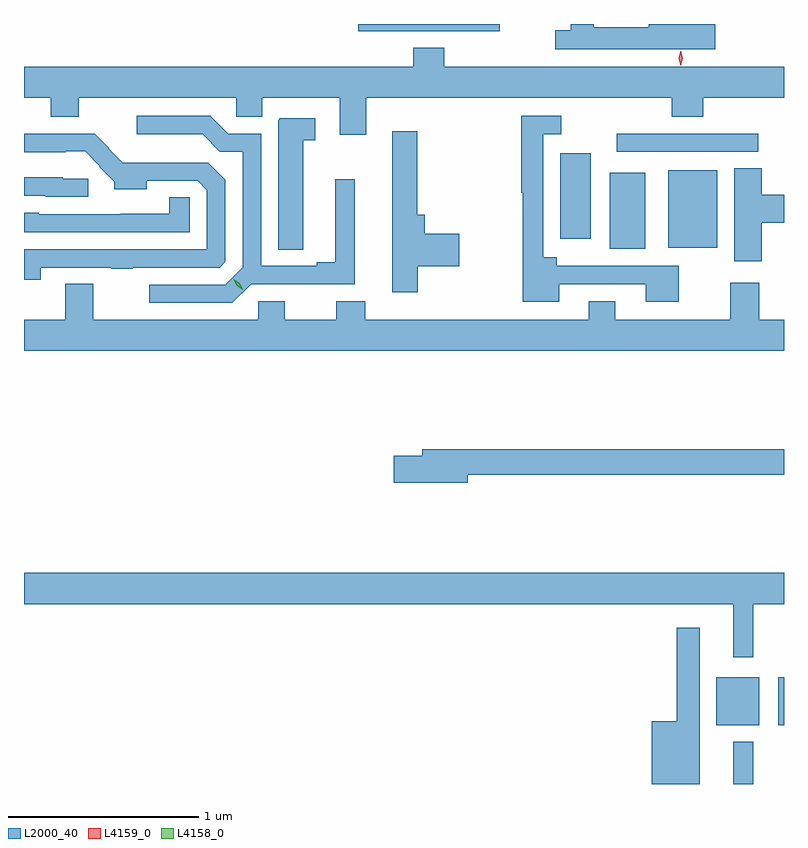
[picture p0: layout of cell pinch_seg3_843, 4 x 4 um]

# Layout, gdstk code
import gdstk
lib = gdstk.Library(unit=1e-6, precision=1e-09)
def R(c, l, rs):  # rectangles x0, y0, x1, y1
    for r in rs: c.add(gdstk.rectangle(r[:2], r[2:], *l))
def P(c, l, *ps):  # polygons
    for p in ps: c.add(gdstk.Polygon(p, *l))
L2000_40 = (2000, 40)
L4158_0 = (4158, 0)
L4159_0 = (4159, 0)

pinch_seg3_843 = lib.new_cell('pinch_seg3_843')
R(pinch_seg3_843, L2000_40, [(738.773,706.629,738.877,706.852), (738.683,706.937,738.91,707.191), (739.01,706.937,739.039,707.191), (738.122,709.445,738.31,709.846), (738.431,709.451,738.688,709.858), (737.861,709.5,738.022,709.948), (738.159,709.956,738.904,710.052), (736.797,710.592,737.542,710.629)])
P(pinch_seg3_843, L2000_40, [(738.676,710.629),(738.326,710.629),(738.326,710.612),(738.037,710.612),(738.037,710.629),(737.916,710.629),(737.916,710.596),(737.835,710.596),(737.835,710.496),(738.43,710.496),(738.43,710.495),(738.676,710.495)],
  [(736.84,710.24),(738.449,710.24),(738.449,710.141),(738.614,710.141),(738.614,710.24),(739.039,710.24),(739.039,710.404),(737.252,710.404),(737.252,710.503),(737.087,710.503),(737.087,710.404),(735.039,710.404),(735.039,710.24),(735.179,710.24),(735.179,710.141),(735.327,710.141),(735.327,710.24),(736.155,710.24),(736.155,710.142),(736.294,710.142),(736.294,710.24),(736.7,710.24),(736.7,710.046),(736.84,710.046)],
  [(737.857,709.26),(738.311,709.26),(738.311,709.166),(738.484,709.166),(738.484,709.356),(737.842,709.356),(737.842,709.402),(737.772,709.402),(737.772,710.049),(737.866,710.049),(737.866,710.145),(737.656,710.145),(737.656,709.742),(737.664,709.742),(737.664,709.166),(737.857,709.166)],
  [(736.234,709.26),(736.78,709.26),(736.78,709.813),(736.676,709.813),(736.676,709.376),(736.58,709.376),(736.58,709.356),(736.287,709.356),(736.287,710.052),(736.113,710.052),(736.02,710.145),(735.633,710.145),(735.633,710.048),(735.979,710.048),(736.07,709.957),(736.191,709.957),(736.191,709.35),(736.098,709.257),(735.699,709.257),(735.699,709.161),(736.135,709.161)],
  [(736.51,710.017),(736.573,710.017),(736.573,710.133),(736.386,710.133),(736.376,710.123),(736.376,709.441),(736.51,709.441)],
  [(737.111,709.355),(737.329,709.355),(737.329,709.526),(737.147,709.526),(737.147,709.624),(737.108,709.624),(737.108,710.065),(736.976,710.065),(736.976,709.218),(737.111,709.218)],
  [(735.126,709.347),(735.499,709.347),(735.499,709.342),(735.611,709.342),(735.611,709.347),(736.068,709.347),(736.098,709.377),(736.098,709.809),(736.009,709.898),(735.893,709.898),(735.893,709.9),(735.559,709.9),(735.485,709.973),(735.487,709.975),(735.411,710.052),(735.039,710.052),(735.039,709.955),(735.26,709.955),(735.26,709.958),(735.362,709.958),(735.438,709.881),(735.435,709.878),(735.514,709.8),(735.514,709.76),(735.685,709.76),(735.685,709.803),(735.954,709.803),(736.002,709.755),(736.002,709.443),(735.039,709.443),(735.039,709.284),(735.126,709.284)],
  [(738.923,709.583),(739.039,709.583),(739.039,709.73),(738.923,709.73),(738.923,709.871),(738.776,709.871),(738.776,709.38),(738.923,709.38)],
  [(735.378,709.815),(735.243,709.815),(735.243,709.822),(735.039,709.822),(735.039,709.725),(735.153,709.725),(735.153,709.719),(735.378,709.719)],
  [(735.912,709.718),(735.804,709.718),(735.804,709.63),(735.549,709.63),(735.549,709.629),(735.117,709.629),(735.117,709.636),(735.039,709.636),(735.039,709.533),(735.912,709.533)],
  [(739.039,709.072),(738.908,709.072),(738.908,709.267),(738.755,709.267),(738.755,709.072),(738.151,709.072),(738.151,709.171),(738.011,709.171),(738.011,709.072),(736.835,709.072),(736.835,709.171),(736.682,709.171),(736.682,709.072),(736.411,709.072),(736.411,709.17),(736.272,709.17),(736.272,709.072),(735.403,709.072),(735.403,709.262),(735.256,709.262),(735.256,709.072),(735.039,709.072),(735.039,708.908),(739.039,708.908)],
  [(737.374,708.256),(739.039,708.256),(739.039,708.392),(737.135,708.392),(737.135,708.356),(736.986,708.356),(736.986,708.214),(737.374,708.214)],
  [(738.877,707.576),(739.039,707.576),(739.039,707.74),(735.039,707.74),(735.039,707.576),(738.773,707.576),(738.773,707.295),(738.877,707.295)],
  [(738.595,707.452),(738.474,707.452),(738.474,706.96),(738.344,706.96),(738.344,706.629),(738.595,706.629)])
P(pinch_seg3_843, L4158_0, [(736.19,709.231),(736.159,709.252),(736.143,709.286),(736.143,709.286),(736.143,709.286),(736.174,709.265),(736.191,709.232),(736.191,709.231)])
P(pinch_seg3_843, L4159_0, [(738.496,710.409),(738.496,710.41),(738.486,710.449),(738.496,710.488),(738.496,710.488),(738.496,710.488),(738.506,710.449),(738.496,710.41)])

lib.write_gds('pinch_seg3_843.gds')
